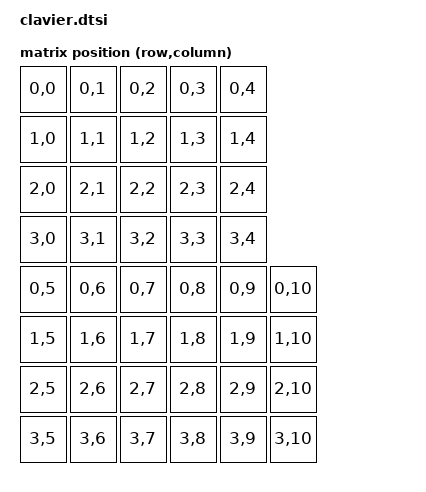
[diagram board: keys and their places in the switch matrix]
#include <dt-bindings/zmk/matrix_transform.h>

/ {
    chosen {
        zmk,kscan = &kscan0;
        zmk,matrix-transform = &default_transform;
    };

    /* * 【決定版】回路図マトリクス基準・トランスフォーム定義
     * * 物理的なキーのレイアウトは一切無視し、回路図（電子回路）の格子通りに
     * 部屋番号（インデックス 0 〜 43）をストレートに割り当てます。
     * これにより、マイコンの認識ズレ（キーの化け）を根本から防ぎます。
     * * ──────────────────────────────────────────────────────────
     * RC( 1つ目の数字 , 2つ目の数字 ) の読み方解説：
     * * RC( 行番号 , 列番号 ) ──＞ RC( Row , Column ) の略です。
     * * ・1つ目の数字【行 (Row)】   ：電気回路の「横の列（ライン）」を指します。
     * 左右共通で 0 〜 3 の合計4行あります。
     * ・2つ目の数字【列 (Column)】：電気回路の「縦の列（ライン）」を指します。
     * 左手(0〜4) ＋ 右手(5〜10) の合計11列あります。
     * ──────────────────────────────────────────────────────────
     */
    default_transform: keymap_transform_0 {
        compatible = "zmk,matrix-transform";
        columns = <11>; // 全体の総列数（左5 + 右6）
        rows = <4>;    // 全体の総行数

        map = <
            /* ＝＝＝＝＝＝＝＝＝＝ 左手側 (位置 0 〜 19) ＝＝＝＝＝＝＝＝＝＝
             * 回路図の「4行 × 5列」の格子に、そのまま 0 から順番に背番号を振ります。
             * [Col0]   [Col1]   [Col2]   [Col3]   [Col4]
             */
            RC(0,0)  RC(0,1)  RC(0,2)  RC(0,3)  RC(0,4)  // Row0 (位置 0〜4)
            RC(1,0)  RC(1,1)  RC(1,2)  RC(1,3)  RC(1,4)  // Row1 (位置 5〜9)
            RC(2,0)  RC(2,1)  RC(2,2)  RC(2,3)  RC(2,4)  // Row2 (位置 10〜14)
            RC(3,0)  RC(3,1)  RC(3,2)  RC(3,3)  RC(3,4)  // Row3 (位置 15〜19)

            /* ＝＝＝＝＝＝＝＝＝＝ 右手側 (位置 20 〜 43) ＝＝＝＝＝＝＝＝＝＝
             * 回路図の「4行 × 6列」の格子です。
             * ZMK Splitの自動オフセット仕様により、右手側のローカル列番号（Col0〜5）には、
             * 左手側の列数「5」が自動的に加算され、[Col5 〜 Col10] として結合されます。
             * [Col5]   [Col6]   [Col7]   [Col8]   [Col9]   [Col10]
             */
            RC(0,5)  RC(0,6)  RC(0,7)  RC(0,8)  RC(0,9)  RC(0,10) // Row0 (位置 20〜25)
            RC(1,5)  RC(1,6)  RC(1,7)  RC(1,8)  RC(1,9)  RC(1,10) // Row1 (位置 26〜31)
            RC(2,5)  RC(2,6)  RC(2,7)  RC(2,8)  RC(2,9)  RC(2,10) // Row2 (位置 32〜37)
            RC(3,5)  RC(3,6)  RC(3,7)  RC(3,8)  RC(3,9)  RC(3,10) // Row3 (位置 38〜43)
        >;
    };
};
